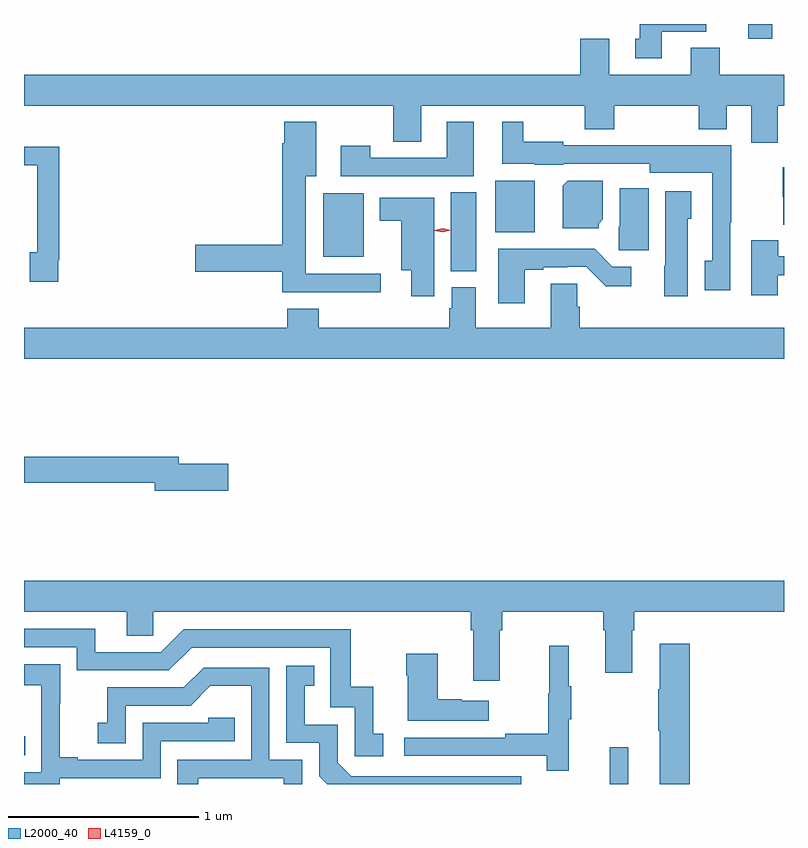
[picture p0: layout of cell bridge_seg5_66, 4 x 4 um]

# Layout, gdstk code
import gdstk
lib = gdstk.Library(unit=1e-6, precision=1e-09)
def R(c, l, rs):  # rectangles x0, y0, x1, y1
    for r in rs: c.add(gdstk.rectangle(r[:2], r[2:], *l))
def P(c, l, *ps):  # polygons
    for p in ps: c.add(gdstk.Polygon(p, *l))
L2000_40 = (2000, 40)
L4159_0 = (4159, 0)

bridge_seg5_66 = lib.new_cell('bridge_seg5_66')
R(bridge_seg5_66, L2000_40, [(246.105,903.806,246.202,904), (243.023,903.957,243.029,904.058), (245.27,906.505,245.404,906.92), (244.598,906.581,244.81,906.916), (245.504,906.71,245.71,906.98), (246.836,907.728,246.961,907.806)])
P(bridge_seg5_66, L2000_40, [(246.379,907.766),(246.615,907.766),(246.615,907.806),(246.263,907.806),(246.263,907.728),(246.239,907.728),(246.239,907.626),(246.379,907.626)],
  [(246.991,907.376),(247.023,907.376),(247.023,907.54),(246.686,907.54),(246.686,907.681),(246.533,907.681),(246.533,907.54),(246.103,907.54),(246.103,907.729),(245.951,907.729),(245.951,907.54),(243.023,907.54),(243.023,907.376),(244.966,907.376),(244.966,907.186),(245.113,907.186),(245.113,907.376),(245.974,907.376),(245.974,907.252),(246.129,907.252),(246.129,907.376),(246.574,907.376),(246.574,907.253),(246.721,907.253),(246.721,907.376),(246.851,907.376),(246.851,907.182),(246.991,907.182)],
  [(244.9,906.492),(244.507,906.492),(244.507,907.004),(244.561,907.004),(244.561,907.291),(244.394,907.291),(244.394,907.178),(244.382,907.178),(244.382,906.644),(243.924,906.644),(243.924,906.502),(244.382,906.502),(244.382,906.395),(244.9,906.395)],
  [(245.389,907.291),(245.249,907.291),(245.249,907.101),(244.845,907.101),(244.845,907.165),(244.689,907.165),(244.689,907.005),(245.389,907.005)],
  [(246.741,906.76),(246.746,906.76),(246.746,907.168),(246.379,907.168),(246.379,907.167),(245.862,907.167),(245.862,907.186),(245.65,907.186),(245.65,907.291),(245.54,907.291),(245.54,907.07),(245.712,907.07),(245.712,907.064),(245.862,907.064),(245.862,907.071),(246.317,907.071),(246.317,907.022),(246.645,907.022),(246.645,906.561),(246.605,906.561),(246.605,906.405),(246.741,906.405)],
  [(243.202,906.562),(243.209,906.562),(243.209,907.16),(243.023,907.16),(243.023,907.062),(243.093,907.062),(243.093,906.606),(243.053,906.606),(243.053,906.45),(243.202,906.45)],
  [(247.023,907.051),(247.016,907.051),(247.016,906.897),(247.018,906.897),(247.018,906.749),(247.023,906.749)],
  [(246.048,906.756),(246.07,906.778),(246.07,906.982),(245.884,906.982),(245.858,906.956),(245.858,906.731),(246.048,906.731)],
  [(246.31,906.941),(246.158,906.941),(246.158,906.738),(246.154,906.738),(246.154,906.615),(246.31,906.615)],
  [(246.517,906.78),(246.535,906.78),(246.535,906.925),(246.398,906.925),(246.398,906.534),(246.392,906.534),(246.392,906.372),(246.517,906.372)],
  [(245.182,906.892),(244.895,906.892),(244.895,906.77),(245.009,906.77),(245.009,906.509),(245.06,906.509),(245.06,906.372),(245.182,906.372)],
  [(246.991,906.483),(247.023,906.483),(247.023,906.583),(246.994,906.583),(246.994,906.667),(246.851,906.667),(246.851,906.378),(246.991,906.378)],
  [(245.659,906.513),(245.755,906.513),(245.755,906.525),(245.882,906.525),(245.882,906.528),(245.982,906.528),(246.085,906.426),(246.22,906.426),(246.22,906.528),(246.12,906.528),(246.026,906.622),(245.519,906.622),(245.519,906.336),(245.659,906.336)],
  [(247.023,906.208),(245.948,906.208),(245.948,906.318),(245.934,906.318),(245.934,906.44),(245.795,906.44),(245.795,906.208),(245.401,906.208),(245.401,906.42),(245.273,906.42),(245.273,906.309),(245.261,906.309),(245.261,906.208),(244.574,906.208),(244.574,906.307),(244.409,906.307),(244.409,906.208),(243.023,906.208),(243.023,906.044),(247.023,906.044)],
  [(244.099,905.492),(243.838,905.492),(243.838,905.528),(243.023,905.528),(243.023,905.392),(243.71,905.392),(243.71,905.35),(244.099,905.35)],
  [(245.527,904.616),(245.54,904.616),(245.54,904.712),(246.071,904.712),(246.071,904.616),(246.083,904.616),(246.083,904.392),(246.223,904.392),(246.223,904.616),(246.236,904.616),(246.236,904.712),(247.023,904.712),(247.023,904.876),(243.023,904.876),(243.023,904.712),(243.563,904.712),(243.563,904.585),(243.702,904.585),(243.702,904.712),(245.375,904.712),(245.375,904.616),(245.387,904.616),(245.387,904.35),(245.527,904.35)],
  [(244.915,904.071),(244.862,904.071),(244.862,904.318),(244.744,904.318),(244.744,904.62),(243.864,904.62),(243.744,904.5),(243.397,904.5),(243.397,904.623),(243.023,904.623),(243.023,904.527),(243.3,904.527),(243.3,904.404),(243.786,904.404),(243.906,904.524),(244.635,904.524),(244.635,904.209),(244.764,904.209),(244.764,903.951),(244.915,903.951)],
  [(246.527,904.543),(246.368,904.543),(246.368,904.304),(246.361,904.304),(246.361,904.087),(246.368,904.087),(246.368,903.806),(246.527,903.806)],
  [(245.891,904.147),(245.902,904.147),(245.902,904.321),(245.891,904.321),(245.891,904.534),(245.788,904.534),(245.788,904.284),(245.781,904.284),(245.781,904.07),(245.557,904.07),(245.557,904.05),(245.025,904.05),(245.025,903.954),(245.773,903.954),(245.773,903.876),(245.891,903.876)],
  [(245.47,904.243),(245.327,904.243),(245.327,904.253),(245.2,904.253),(245.2,904.492),(245.035,904.492),(245.035,904.379),(245.042,904.379),(245.042,904.139),(245.47,904.139)],
  [(243.21,903.837),(243.744,903.837),(243.744,904.032),(244.133,904.032),(244.133,904.155),(243.993,904.155),(243.993,904.128),(243.648,904.128),(243.648,903.933),(243.307,903.933),(243.307,903.946),(243.212,903.946),(243.212,904.229),(243.213,904.229),(243.213,904.435),(243.023,904.435),(243.023,904.325),(243.113,904.325),(243.113,904.097),(243.114,904.097),(243.114,903.867),(243.023,903.867),(243.023,903.806),(243.21,903.806)],
  [(245.64,903.846),(244.746,903.846),(244.674,903.918),(244.674,904.119),(244.501,904.119),(244.501,904.323),(244.55,904.323),(244.55,904.429),(244.404,904.429),(244.404,904.023),(244.578,904.023),(244.578,903.846),(244.618,903.806),(245.64,903.806)],
  [(243.94,903.837),(244.391,903.837),(244.391,903.806),(244.488,903.806),(244.488,903.933),(244.314,903.933),(244.314,904.419),(243.968,904.419),(243.863,904.314),(243.46,904.314),(243.46,904.129),(243.411,904.129),(243.411,904.02),(243.558,904.02),(243.558,904.218),(243.9,904.218),(244.004,904.322),(244.218,904.322),(244.218,903.933),(243.829,903.933),(243.829,903.806),(243.94,903.806)])
P(bridge_seg5_66, L4159_0, [(245.227,906.71),(245.186,906.719),(245.186,906.72),(245.186,906.72),(245.227,906.73),(245.268,906.72),(245.268,906.72),(245.268,906.72)])

lib.write_gds('bridge_seg5_66.gds')
